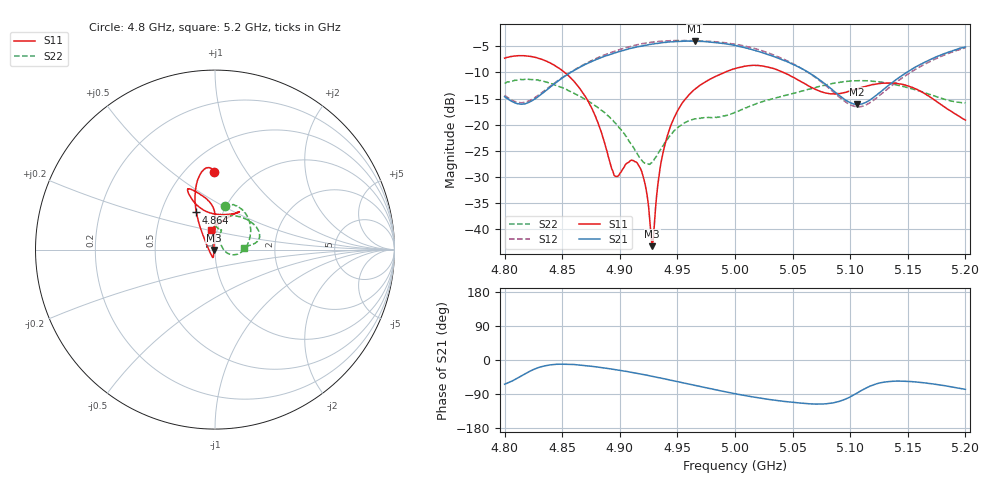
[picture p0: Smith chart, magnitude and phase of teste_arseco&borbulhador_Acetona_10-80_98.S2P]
! Network Analyzer HP8722D
! Hewlett-Packard
! Data name: Linha & Wilkinson
! Saver's name: Rodrigo Anjos
! Comments: Teste da utilização de aquisição
! continua pelo VNA HP8722D
! Time and date: 25/4/2025 16:05
!  Frequency  S11  S21  S12  S22
# HZ  S  MA R 50
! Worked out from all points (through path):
!   401 points, 4.8 GHz to 5.2 GHz, reference 50 ohm
!   highest |S21| = -3.97 dB at 4.965 GHz (marker M1); lowest = -16.1 dB at 5.106 GHz (marker M2)
!   lowest |S11| = -43.3 dB at 4.928 GHz (marker M3), VSWR 1.01, Z = 49.3 - j0.142 ohm
!   |S11| at or under -10 dB: 4.852 GHz to 4.991 GHz (138.7 MHz wide, 2.82 % of centre); 5.042 GHz to end of sweep
!   |S22| runs from -27.6 to -11.3 dB; largest |S21 - S12| = 1.2
!   S11 on the Smith chart (normalised r, x): 4.8 GHz: 0.68, +0.72; 4.864 GHz: 0.75, +0.33; 5.2 GHz: 0.94, +0.21
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4.8e9  0.4335 90.7  0.1856 -63.9  0.1908 69.7  0.2493 77.4
4.82e9  0.4532 96.9  0.1614 -32.5  0.1672 98.3  0.2727 61.9
4.864e9  0.2318 116.7  0.3494 -12.8  0.3521 121.0  0.1899 12.1
4.867e9  0.2087 118.3  0.3626 -13.9  0.3676 120.6  0.1826 8.6
4.88e9  0.1111 128.5  0.4228 -18.3  0.4331 118.4  0.1483 -5.3
4.896e9  0.032 -164.9  0.4884 -25.3  0.5074 113.3  0.1039 -16.1
4.91e9  0.04562 -106.2  0.5402 -32.7  0.5645 107.1  0.0641 -13.8
4.917e9  0.03933 -102.9  0.562 -36.5  0.5889 103.6  0.04861 -1.7
4.922e9  0.02666 -106.5  0.5757 -39.2  0.6037 100.7  0.04235 16.0
4.928e9  0.006833 -167.8  0.5924 -43.0  0.6179 97.1  0.04334 41.2
4.93e9  0.01111 125.7  0.5963 -44.2  0.6202 95.8  0.04671 48.6
4.934e9  0.03199 99.3  0.604 -46.8  0.6292 93.4  0.05481 58.4
4.939e9  0.06302 92.9  0.6148 -49.8  0.6342 90.1  0.06702 65.3
4.946e9  0.1093 89.7  0.623 -54.3  0.6385 85.7  0.08419 70.1
4.965e9  0.2179 91.0  0.6335 -67.0  0.6377 73.5  0.1138 71.8
5e9  0.3447 109.1  0.5726 -89.0  0.592 50.8  0.1315 88.2
5.031e9  0.3508 115.1  0.461 -104.6  0.4774 33.3  0.175 84.6
5.067e9  0.2257 105.3  0.3009 -115.9  0.2985 23.6  0.2227 56.9
5.106e9  0.2192 64.6  0.1562 -87.2  0.1483 56.0  0.2633 24.8
5.134e9  0.2508 57.1  0.2412 -56.8  0.2265 88.7  0.2484 12.4
5.17e9  0.182 70.6  0.4227 -62.4  0.4073 84.4  0.1936 6.8
5.2e9  0.1105 100.5  0.5556 -77.5  0.5454 70.1  0.1611 3.7
